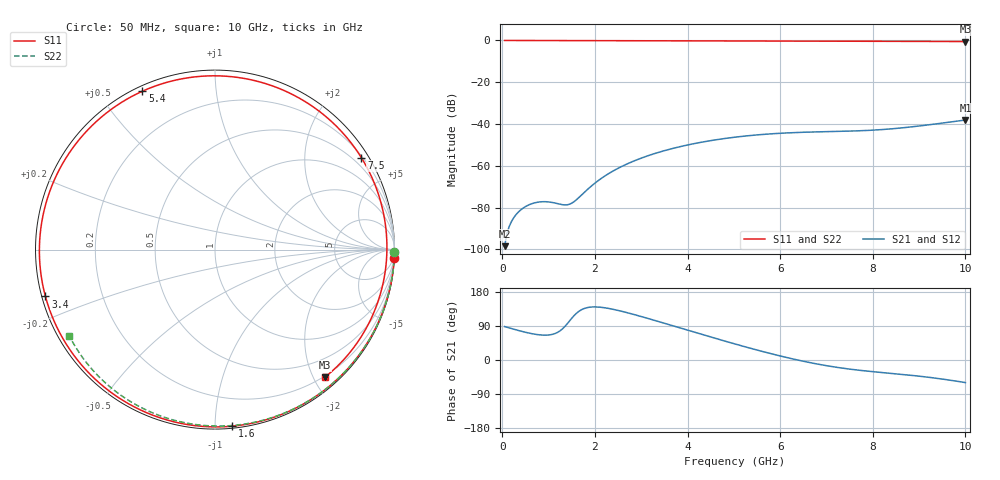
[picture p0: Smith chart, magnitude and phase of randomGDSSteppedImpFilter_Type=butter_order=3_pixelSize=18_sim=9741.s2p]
! freq	dB(S11)	phase(S11)	dB(S12)	phase(S12)
!  dB(S21)	phase(S21)	dB(S22)	phase(S22)
!S-par simulation data
#  GHz  S  DB  R 50
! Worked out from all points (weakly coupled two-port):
!   200 points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, 50 MHz to 10 GHz, reference 50 ohm
!   highest |S21| = -38.09 dB at 10 GHz (marker M1); lowest = -98.5 dB at 50 MHz (marker M2)
!   lowest |S11| = -0.6 dB at 10 GHz (marker M3), VSWR 31.50, Z = 9.07 - j108 ohm
!   |S11| at or under -10 dB: nowhere
!   |S22| runs from -0.5 to 0.0 dB; largest |S21 - S12| = 0
!   S11 on the Smith chart (normalised r, x): 50 MHz: 0, -41; 1.6 GHz: 0.01, -1.10; 3.4 GHz: 0.01, -0.14; 5.4 GHz: 0.02, +0.64; 7.5 GHz: 0.25, +3.46; 10 GHz: 0.18, -2.17
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0.05  -0.00 -2.8  -98.49 88.2  -98.49 88.2  -0.00 -0.9
0.45  -0.03 -24.7  -80.26 74.6  -80.26 74.6  -0.01 -7.7
0.7  -0.05 -38.2  -77.75 68.1  -77.75 68.1  -0.01 -12.0
0.9  -0.06 -48.8  -77.19 65.6  -77.19 65.6  -0.02 -15.4
1.4  -0.09 -74.5  -78.70 95.3  -78.70 95.3  -0.03 -23.9
1.6  -0.10 -84.4  -76.29 123.2  -76.29 123.2  -0.03 -27.2
1.75  -0.11 -91.6  -73.19 135.0  -73.19 135.0  -0.04 -29.7
2.1  -0.12 -108.1  -66.64 139.5  -66.64 139.5  -0.05 -35.5
2.45  -0.14 -123.9  -61.80 132.2  -61.80 132.2  -0.05 -41.3
2.95  -0.16 -145.7  -56.77 116.5  -56.77 116.5  -0.06 -49.4
3.4  -0.17 -164.5  -53.41 100.6  -53.41 100.6  -0.08 -56.5
3.8  -0.19 179.1  -51.05 86.1  -51.05 86.1  -0.09 -62.7
4.2  -0.21 162.9  -49.14 71.5  -49.14 71.5  -0.10 -68.9
4.6  -0.23 146.8  -47.60 57.2  -47.60 57.2  -0.11 -74.9
5.05  -0.24 128.7  -46.24 41.4  -46.24 41.4  -0.13 -81.6
5.4  -0.26 114.6  -45.42 29.6  -45.42 29.6  -0.14 -86.7
6.05  -0.28 88.5  -44.38 9.2  -44.38 9.2  -0.17 -96.0
6.7  -0.30 62.7  -43.83 -8.2  -43.83 -8.2  -0.20 -105.0
7.5  -0.33 32.1  -43.41 -24.0  -43.41 -24.0  -0.26 -115.9
8.35  -0.37 1.7  -42.42 -34.7  -42.42 -34.7  -0.33 -127.3
9.1  -0.43 -22.8  -40.69 -44.0  -40.69 -44.0  -0.40 -137.3
10  -0.55 -49.3  -38.09 -59.6  -38.09 -59.6  -0.51 -149.4
